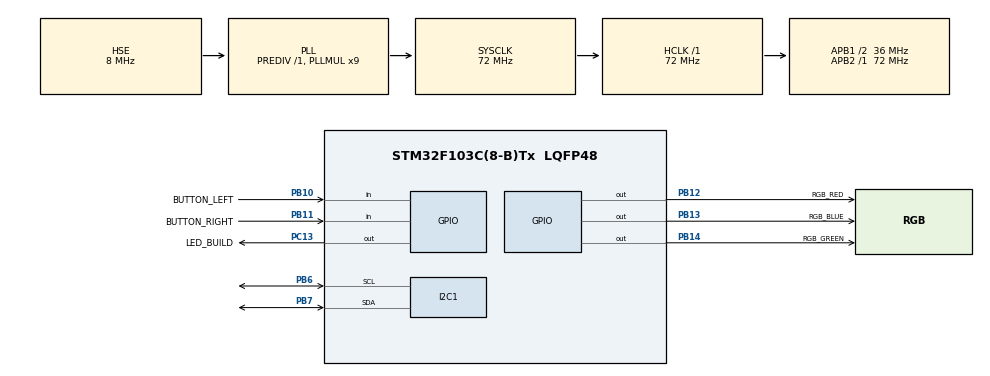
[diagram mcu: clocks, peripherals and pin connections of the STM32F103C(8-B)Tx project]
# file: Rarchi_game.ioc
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I2C1.I2C_Mode=I2C_Fast
Mcu.Family=STM32F1
Mcu.Name=STM32F103C(8-B)Tx
Mcu.Package=LQFP48
NVIC.PriorityGroup=NVIC_PRIORITYGROUP_4
NVIC.RCC_IRQn=true\:0\:0\:false\:false\:true\:true\:false
NVIC.TIM2_IRQn=true\:0\:0\:false\:false\:true\:true\:true
PA13.Mode=Serial_Wire
PA13.Signal=SYS_JTMS-SWDIO
PA14.Mode=Serial_Wire
PA14.Signal=SYS_JTCK-SWCLK
PB10.GPIO_Label=BUTTON_LEFT
PB10.GPIO_PuPd=GPIO_PULLUP
PB10.Signal=GPIO_Input
PB11.GPIO_Label=BUTTON_RIGHT
PB11.GPIO_PuPd=GPIO_PULLUP
PB11.Signal=GPIO_Input
PB12.GPIO_Label=RGB_RED
PB12.Signal=GPIO_Output
PB13.GPIO_Label=RGB_BLUE
PB13.Signal=GPIO_Output
PB14.GPIO_Label=RGB_GREEN
PB14.Signal=GPIO_Output
PB6.Mode=I2C
PB6.Signal=I2C1_SCL
PB7.Mode=I2C
PB7.Signal=I2C1_SDA
PC13-TAMPER-RTC.GPIO_Label=LED_BUILD
PC13-TAMPER-RTC.Signal=GPIO_Output
PD0-OSC_IN.Mode=HSE-External-Oscillator
PD0-OSC_IN.Signal=RCC_OSC_IN
PD1-OSC_OUT.Mode=HSE-External-Oscillator
PD1-OSC_OUT.Signal=RCC_OSC_OUT
ProjectManager.HeapSize=0x200
ProjectManager.StackSize=0x400
ProjectManager.TargetToolchain=STM32CubeIDE
RCC.AHBFreq_Value=72000000
RCC.APB1CLKDivider=RCC_HCLK_DIV2
RCC.APB1Freq_Value=36000000
RCC.APB1TimFreq_Value=72000000
RCC.APB2Freq_Value=72000000
RCC.APB2TimFreq_Value=72000000
RCC.HCLKFreq_Value=72000000
RCC.PLLMUL=RCC_PLL_MUL9
RCC.PLLSourceVirtual=RCC_PLLSOURCE_HSE
RCC.SYSCLKFreq_VALUE=72000000
RCC.SYSCLKSource=RCC_SYSCLKSOURCE_PLLCLK
RCC.USBFreq_Value=48000000
RCC.USBPrescaler=RCC_USBCLKSOURCE_PLL_DIV1_5
TIM2.AutoReloadPreload=TIM_AUTORELOAD_PRELOAD_DISABLE
TIM2.Period=10000-1
TIM2.Prescaler=6000-1
VP_TIM2_VS_ClockSourceINT.Mode=Internal
board=custom

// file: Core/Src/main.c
/* USER CODE BEGIN Header */
/**
 ******************************************************************************
 * @file           : main.c
 * @brief          : Main program body
 ******************************************************************************
 * @attention
 *
 * <h2><center>&copy; Copyright (c) 2020 STMicroelectronics.
 * All rights reserved.</center></h2>
 *
 * This software component is licensed by ST under BSD 3-Clause license,
 * the "License"; You may not use this file except in compliance with the
 * License. You may obtain a copy of the License at:
 *                        opensource.org/licenses/BSD-3-Clause
 *
 ******************************************************************************
 */
/* USER CODE END Header */

#include "main.h"

/* USER CODE BEGIN Includes */

#include "ssd1306.h"
#include "fonts.h"
#include "test.h"
#include "cartoons.h"
#include "game_data.h"
#include "gameplay_logic.h"
#include "internal_flash.h"
/* USER CODE END Includes */

I2C_HandleTypeDef hi2c1;

TIM_HandleTypeDef htim2;

void SystemClock_Config(void);
static void MX_GPIO_Init(void);
static void MX_I2C1_Init(void);
static void MX_TIM2_Init(void);

int main(void) {
	/* USER CODE BEGIN 1 */
	Player children;
	children.points = 0;
	children.state_machine = INIT;
	children.scrol_position = 18;
	children.game_questions = 0;
	children.selected_game_item = 0;

	/* USER CODE END 1 */

	/* MCU Configuration--------------------------------------------------------*/

	/* Reset of all peripherals, Initializes the Flash interface and the Systick. */
	HAL_Init();

	/* Configure the system clock */
	SystemClock_Config();

	/* Initialize all configured peripherals */
	MX_GPIO_Init();
	MX_I2C1_Init();
	MX_TIM2_Init();
	/* USER CODE BEGIN 2 */

	//I get the children points and save them on children struct:
	//uint16_t write_pts = 12;
	//uint16_t *pointer_pts_write = &write_pts;
	//save_to_flash((uint8_t*)pointer_pts_write);
	uint16_t read_pts = 0;
	uint16_t *pointer_pts_read = &read_pts;
	read_flash((uint8_t*) pointer_pts_read);
	children.points = read_pts;

	SSD1306_Init(); // initialise
	HAL_TIM_Base_Init(&htim2);
	HAL_TIM_Base_Start_IT(&htim2);

	SSD1306_GotoXY(0, 0);
	SSD1306_Puts("PTS:", &Font_11x18, 1);
	SSD1306_GotoXY(42, 0);
	char *numberstring[(((sizeof children.points)) + 2) / 3 + 2];
	sprintf((char*) numberstring, "%d", children.points);
	SSD1306_Puts((char*) numberstring, &Font_11x18, 1);
	HAL_GPIO_WritePin(RGB_GREEN_GPIO_Port, RGB_GREEN_Pin, 0);

	//SSD1306_DrawBitmap(30, 0, image_data_test_real, 128, 64, 1);
	//int position_icon = 0;
	//SSD1306_DrawBitmap(position_icon, 20, icon_house, 25, 25, 1);
	//SSD1306_DrawBitmap(position_icon += 25, 20, icon_cross, 25, 25, 1);

	SSD1306_DrawBitmap(0, 11, duck_1, 128, 54, 1);
	SSD1306_UpdateScreen();
	/*
	 HAL_Delay(300);
	 SSD1306_Clear();
	 SSD1306_DrawBitmap(0, 11, duck_2, 128, 54, 1);
	 SSD1306_UpdateScreen();
	 HAL_Delay(300);
	 SSD1306_Clear();
	 SSD1306_DrawBitmap(0, 11, duck_3, 128, 54, 1);
	 SSD1306_UpdateScreen();
	 HAL_Delay(300);
	 */
	/* USER CODE END 2 */

	/* Infinite loop */
	/* USER CODE BEGIN WHILE */

	while (1) {

		switch (children.state_machine) {
		case INIT:
			if (HAL_GPIO_ReadPin(BUTTON_RIGHT_GPIO_Port, BUTTON_RIGHT_Pin) == 0
					|| HAL_GPIO_ReadPin(BUTTON_LEFT_GPIO_Port, BUTTON_LEFT_Pin)
							== 0) {
				HAL_GPIO_WritePin(RGB_RED_GPIO_Port, RGB_RED_Pin, 1);
				HAL_GPIO_WritePin(RGB_GREEN_GPIO_Port, RGB_GREEN_Pin, 0);
				//I update the screen
				SSD1306_Clear();
				SSD1306_GotoXY(20, 18);
				SSD1306_Puts("1:Questions", &Font_7x10, 1);
				SSD1306_GotoXY(20, 28);
				SSD1306_Puts("2:Relations", &Font_7x10, 1);
				SSD1306_GotoXY(20, 38);
				SSD1306_Puts("3:Maths", &Font_7x10, 1);
				SSD1306_GotoXY(20, 48);
				SSD1306_Puts("4:Orthography", &Font_7x10, 1);
				SSD1306_GotoXY(50, 0);
				SSD1306_Puts("Select game", &Font_7x10, 1);
				children.scrol_position = 28;
				SSD1306_GotoXY(10, 18);
				SSD1306_Puts(">", &Font_7x10, 1);
				SSD1306_UpdateScreen(); //display
				HAL_Delay(60);
				children.state_machine = MENU;
			}
			break;
		case MENU:
			if (HAL_GPIO_ReadPin(BUTTON_LEFT_GPIO_Port, BUTTON_LEFT_Pin) == 0) {
				SSD1306_GotoXY(10, 18);
				SSD1306_Puts(" ", &Font_7x10, 1);
				SSD1306_GotoXY(10, 28);
				SSD1306_Puts(" ", &Font_7x10, 1);
				SSD1306_GotoXY(10, 38);
				SSD1306_Puts(" ", &Font_7x10, 1);
				SSD1306_GotoXY(10, 48);
				SSD1306_Puts(" ", &Font_7x10, 1);
				SSD1306_GotoXY(10, children.scrol_position);
				SSD1306_Puts(">", &Font_7x10, 1);
				SSD1306_UpdateScreen(); //display
				if (children.scrol_position >= 48) {
					children.scrol_position = 18;
				} else if (children.scrol_position != 48) {
					children.scrol_position += 10;
				}
				HAL_Delay(60);
			}
			if (HAL_GPIO_ReadPin(BUTTON_RIGHT_GPIO_Port, BUTTON_RIGHT_Pin)
					== 0) {
				SSD1306_Clear();
				HAL_GPIO_WritePin(RGB_RED_GPIO_Port, RGB_RED_Pin, 0);
				HAL_GPIO_WritePin(RGB_GREEN_GPIO_Port, RGB_GREEN_Pin, 0);
				HAL_GPIO_WritePin(RGB_BLUE_GPIO_Port, RGB_BLUE_Pin, 1);
				SSD1306_GotoXY(0, 0);

				if (children.scrol_position == 28) {
					children.state_machine = GAME_1;
					children.game_questions = 0;
					SSD1306_GotoXY(0, 0);
					SSD1306_Puts(game1[children.game_questions].question,
							&Font_7x10, 1);
					SSD1306_GotoXY(0, 30);
					SSD1306_Puts(game1[children.game_questions].yes, &Font_7x10,
							1);
					SSD1306_GotoXY(80, 30);
					SSD1306_Puts(game1[children.game_questions].no, &Font_7x10,
							1);
					SSD1306_GotoXY(20, 50);
					SSD1306_Puts("<=>", &Font_7x10, 1);
					//SSD1306_GotoXY(100, 50);
					//SSD1306_Puts("<=>", &Font_7x10, 1);

				} else if (children.scrol_position == 38) {

					children.state_machine = GAME_2;
					children.game_questions = 0;
					SSD1306_Clear();
					SSD1306_GotoXY(0, 0);
					SSD1306_Puts(game2[children.game_questions].question,
							&Font_11x18, 1);
					int position_icon = 20;
					SSD1306_DrawBitmap(position_icon, 20,
							game2[children.game_questions].icon_1, 25, 25, 1);
					position_icon += 60;
					SSD1306_DrawBitmap(position_icon, 20,
							game2[children.game_questions].icon_2, 25, 25, 1);
					SSD1306_GotoXY(22, 50);
					SSD1306_Puts("<=>", &Font_7x10, 1);

				} else if (children.scrol_position == 48) {
					SSD1306_Puts("GAME 3", &Font_11x18, 1);
					children.state_machine = GAME_3;
					children.game_questions = 0;
					SSD1306_GotoXY(0, 0);
					SSD1306_Puts(game3[children.game_questions].question,
							&Font_11x18, 1);
					SSD1306_GotoXY(20 - 5, 30);
					SSD1306_Puts(game3[children.game_questions].yes,
							&Font_11x18, 1);
					SSD1306_GotoXY(100 - 5, 30);
					SSD1306_Puts(game3[children.game_questions].no, &Font_11x18,
							1);
					children.selected_game_item = 0;
					SSD1306_GotoXY(20, 50);
					SSD1306_Puts("<=>", &Font_7x10, 1);
				} else if (children.scrol_position == 18) {

					children.game_questions = 0;
					children.state_machine = GAME_4;
					SSD1306_GotoXY(40, 0);
					SSD1306_Puts(game4[children.game_questions].question,
							&Font_11x18, 1);
					SSD1306_GotoXY(20, 30);
					SSD1306_Puts(game4[children.game_questions].yes,
							&Font_11x18, 1);
					SSD1306_GotoXY(100, 30);
					SSD1306_Puts(game4[children.game_questions].no, &Font_11x18,
							1);
					SSD1306_GotoXY(20, 52);
					SSD1306_Puts("<=>", &Font_7x10, 1);
				}
				SSD1306_UpdateScreen();
				HAL_Delay(60);
			}
			break;
		case (GAME_1):
			//If I confirm the answer:
			if (HAL_GPIO_ReadPin(BUTTON_RIGHT_GPIO_Port, BUTTON_RIGHT_Pin)
					== 0) {
				gameplay_1_confirm(&children);
			}
			//If I change the response:
			if (HAL_GPIO_ReadPin(BUTTON_LEFT_GPIO_Port, BUTTON_LEFT_Pin) == 0) {
				if (children.selected_game_item == 0) {
					SSD1306_GotoXY(20, 50);
					SSD1306_Puts("   ", &Font_7x10, 1);

					SSD1306_GotoXY(100, 50);
					SSD1306_Puts("<=>", &Font_7x10, 1);
					children.selected_game_item++;
				} else {
					SSD1306_GotoXY(20, 50);
					SSD1306_Puts("<=>", &Font_7x10, 1);

					SSD1306_GotoXY(100, 50);
					SSD1306_Puts("   ", &Font_7x10, 1);
					children.selected_game_item = 0;
				}
				SSD1306_UpdateScreen();
				HAL_Delay(80);
			}

			break;
		case (GAME_2):
			//If I confirm the answer:
			if (HAL_GPIO_ReadPin(BUTTON_RIGHT_GPIO_Port, BUTTON_RIGHT_Pin)
					== 0) {
				gameplay_2_confirm(&children);
			}
			//If I change the response:
			if (HAL_GPIO_ReadPin(BUTTON_LEFT_GPIO_Port, BUTTON_LEFT_Pin) == 0) {
				if (children.selected_game_item == 0) {
					SSD1306_GotoXY(22, 50);
					SSD1306_Puts("   ", &Font_7x10, 1);

					SSD1306_GotoXY(80, 50);
					SSD1306_Puts("<=>", &Font_7x10, 1);
					children.selected_game_item++;
				} else {
					SSD1306_GotoXY(22, 50);
					SSD1306_Puts("<=>", &Font_7x10, 1);

					SSD1306_GotoXY(80, 50);
					SSD1306_Puts("   ", &Font_7x10, 1);
					children.selected_game_item = 0;
				}
				SSD1306_UpdateScreen();
				HAL_Delay(80);
			}
			break;
		case (GAME_3):
			if (HAL_GPIO_ReadPin(BUTTON_RIGHT_GPIO_Port, BUTTON_RIGHT_Pin)
					== 0) {
				gameplay_3_confirm(&children);
			}
			//If I change the response:
			if (HAL_GPIO_ReadPin(BUTTON_LEFT_GPIO_Port, BUTTON_LEFT_Pin) == 0) {
				if (children.selected_game_item == 0) {
					SSD1306_GotoXY(20, 50);
					SSD1306_Puts("   ", &Font_7x10, 1);

					SSD1306_GotoXY(85, 50);
					SSD1306_Puts("<=>", &Font_7x10, 1);
					children.selected_game_item++;
				} else {
					SSD1306_GotoXY(20, 50);
					SSD1306_Puts("<=>", &Font_7x10, 1);

					SSD1306_GotoXY(85, 50);
					SSD1306_Puts("   ", &Font_7x10, 1);
					children.selected_game_item = 0;
				}
				SSD1306_UpdateScreen();
				HAL_Delay(80);
			}
			break;
		case (GAME_4):
			//Confirm button
			if (HAL_GPIO_ReadPin(BUTTON_RIGHT_GPIO_Port, BUTTON_RIGHT_Pin)
					== 0) {
				if (children.game_questions < 5) {
					children.game_questions++;
					SSD1306_Clear();
					SSD1306_GotoXY(40, 0);
					SSD1306_Puts(game4[children.game_questions].question,
							&Font_11x18, 1);
					SSD1306_GotoXY(20, 30);
					SSD1306_Puts(game4[children.game_questions].yes,
							&Font_11x18, 1);
					SSD1306_GotoXY(100, 30);
					SSD1306_Puts(game4[children.game_questions].no, &Font_11x18,
							1);
					SSD1306_GotoXY(20, 52);
					SSD1306_Puts("<=>", &Font_7x10, 1);

				} else {

					children.state_machine = INIT;
					children.game_questions = 0;
					//character_draw(1);
					SSD1306_Clear();
					SSD1306_GotoXY(0, 0);
					SSD1306_Puts("PTS:", &Font_11x18, 1);
					SSD1306_GotoXY(42, 0);
					char *numberstring[(((sizeof children.points)) + 2) / 3 + 2];
					sprintf((char*) numberstring, "%d", children.points);
					SSD1306_Puts(&numberstring, &Font_11x18, 1);
					HAL_GPIO_WritePin(RGB_BLUE_GPIO_Port, RGB_BLUE_Pin, 0);
					HAL_GPIO_WritePin(RGB_GREEN_GPIO_Port, RGB_GREEN_Pin, 1);
				}
				SSD1306_UpdateScreen(); //display
			}
			//If I change the response:
			if (HAL_GPIO_ReadPin(BUTTON_LEFT_GPIO_Port, BUTTON_LEFT_Pin) == 0) {
				if (children.selected_game_item == 0) {
					SSD1306_GotoXY(20, 50);
					SSD1306_Puts("   ", &Font_7x10, 1);

					SSD1306_GotoXY(100, 50);
					SSD1306_Puts("<=>", &Font_7x10, 1);
					children.selected_game_item++;
				} else {
					SSD1306_GotoXY(20, 50);
					SSD1306_Puts("<=>", &Font_7x10, 1);

					SSD1306_GotoXY(100, 50);
					SSD1306_Puts("   ", &Font_7x10, 1);
					children.selected_game_item = 0;
				}
				SSD1306_UpdateScreen();
				HAL_Delay(80);
			}
			break;

		}

		/* USER CODE END WHILE */

	}
}

void SystemClock_Config(void) {
	RCC_OscInitTypeDef RCC_OscInitStruct = { 0 };
	RCC_ClkInitTypeDef RCC_ClkInitStruct = { 0 };

	/** Initializes the CPU, AHB and APB busses clocks
	 */
	RCC_OscInitStruct.OscillatorType = RCC_OSCILLATORTYPE_HSE;
	RCC_OscInitStruct.HSEState = RCC_HSE_ON;
	RCC_OscInitStruct.HSEPredivValue = RCC_HSE_PREDIV_DIV1;
	RCC_OscInitStruct.HSIState = RCC_HSI_ON;
	RCC_OscInitStruct.PLL.PLLState = RCC_PLL_ON;
	RCC_OscInitStruct.PLL.PLLSource = RCC_PLLSOURCE_HSE;
	RCC_OscInitStruct.PLL.PLLMUL = RCC_PLL_MUL9;
	if (HAL_RCC_OscConfig(&RCC_OscInitStruct) != HAL_OK) {
		Error_Handler();
	}
	/** Initializes the CPU, AHB and APB busses clocks
	 */
	RCC_ClkInitStruct.ClockType = RCC_CLOCKTYPE_HCLK | RCC_CLOCKTYPE_SYSCLK
			| RCC_CLOCKTYPE_PCLK1 | RCC_CLOCKTYPE_PCLK2;
	RCC_ClkInitStruct.SYSCLKSource = RCC_SYSCLKSOURCE_PLLCLK;
	RCC_ClkInitStruct.AHBCLKDivider = RCC_SYSCLK_DIV1;
	RCC_ClkInitStruct.APB1CLKDivider = RCC_HCLK_DIV2;
	RCC_ClkInitStruct.APB2CLKDivider = RCC_HCLK_DIV1;

	if (HAL_RCC_ClockConfig(&RCC_ClkInitStruct, FLASH_LATENCY_2) != HAL_OK) {
		Error_Handler();
	}
}

static void MX_I2C1_Init(void) {

	hi2c1.Instance = I2C1;
	hi2c1.Init.ClockSpeed = 400000;
	hi2c1.Init.DutyCycle = I2C_DUTYCYCLE_2;
	hi2c1.Init.OwnAddress1 = 0;
	hi2c1.Init.AddressingMode = I2C_ADDRESSINGMODE_7BIT;
	hi2c1.Init.DualAddressMode = I2C_DUALADDRESS_DISABLE;
	hi2c1.Init.OwnAddress2 = 0;
	hi2c1.Init.GeneralCallMode = I2C_GENERALCALL_DISABLE;
	hi2c1.Init.NoStretchMode = I2C_NOSTRETCH_DISABLE;
	if (HAL_I2C_Init(&hi2c1) != HAL_OK) {
		Error_Handler();
	}

}

static void MX_TIM2_Init(void) {

	TIM_ClockConfigTypeDef sClockSourceConfig = { 0 };
	TIM_MasterConfigTypeDef sMasterConfig = { 0 };

	htim2.Instance = TIM2;
	htim2.Init.Prescaler = 6000 - 1;
	htim2.Init.CounterMode = TIM_COUNTERMODE_UP;
	htim2.Init.Period = 10000 - 1;
	htim2.Init.ClockDivision = TIM_CLOCKDIVISION_DIV1;
	htim2.Init.AutoReloadPreload = TIM_AUTORELOAD_PRELOAD_DISABLE;
	if (HAL_TIM_Base_Init(&htim2) != HAL_OK) {
		Error_Handler();
	}
	sClockSourceConfig.ClockSource = TIM_CLOCKSOURCE_INTERNAL;
	if (HAL_TIM_ConfigClockSource(&htim2, &sClockSourceConfig) != HAL_OK) {
		Error_Handler();
	}
	sMasterConfig.MasterOutputTrigger = TIM_TRGO_RESET;
	sMasterConfig.MasterSlaveMode = TIM_MASTERSLAVEMODE_DISABLE;
	if (HAL_TIMEx_MasterConfigSynchronization(&htim2, &sMasterConfig)
			!= HAL_OK) {
		Error_Handler();
	}

}

static void MX_GPIO_Init(void) {
	GPIO_InitTypeDef GPIO_InitStruct = { 0 };

	/* GPIO Ports Clock Enable */
	__HAL_RCC_GPIOC_CLK_ENABLE();
	__HAL_RCC_GPIOD_CLK_ENABLE();
	__HAL_RCC_GPIOB_CLK_ENABLE();
	__HAL_RCC_GPIOA_CLK_ENABLE();

	/*Configure GPIO pin Output Level */
	HAL_GPIO_WritePin(LED_BUILD_GPIO_Port, LED_BUILD_Pin, GPIO_PIN_RESET);

	/*Configure GPIO pin Output Level */
	HAL_GPIO_WritePin(GPIOB, RGB_RED_Pin | RGB_BLUE_Pin | RGB_GREEN_Pin,
			GPIO_PIN_RESET);

	/*Configure GPIO pin : LED_BUILD_Pin */
	GPIO_InitStruct.Pin = LED_BUILD_Pin;
	GPIO_InitStruct.Mode = GPIO_MODE_OUTPUT_PP;
	GPIO_InitStruct.Pull = GPIO_NOPULL;
	GPIO_InitStruct.Speed = GPIO_SPEED_FREQ_LOW;
	HAL_GPIO_Init(LED_BUILD_GPIO_Port, &GPIO_InitStruct);

	/*Configure GPIO pins : BUTTON_LEFT_Pin BUTTON_RIGHT_Pin */
	GPIO_InitStruct.Pin = BUTTON_LEFT_Pin | BUTTON_RIGHT_Pin;
	GPIO_InitStruct.Mode = GPIO_MODE_INPUT;
	GPIO_InitStruct.Pull = GPIO_PULLUP;
	HAL_GPIO_Init(GPIOB, &GPIO_InitStruct);

	/*Configure GPIO pins : RGB_RED_Pin RGB_BLUE_Pin RGB_GREEN_Pin */
	GPIO_InitStruct.Pin = RGB_RED_Pin | RGB_BLUE_Pin | RGB_GREEN_Pin;
	GPIO_InitStruct.Mode = GPIO_MODE_OUTPUT_PP;
	GPIO_InitStruct.Pull = GPIO_NOPULL;
	GPIO_InitStruct.Speed = GPIO_SPEED_FREQ_LOW;
	HAL_GPIO_Init(GPIOB, &GPIO_InitStruct);

}

/* USER CODE BEGIN 4 */
void HAL_TIM_PeriodElapsedCallback(TIM_HandleTypeDef *htim) {

	HAL_GPIO_TogglePin(RGB_RED_GPIO_Port, RGB_RED_Pin);

}
/* USER CODE END 4 */

void Error_Handler(void) {
}

/************************ (C) COPYRIGHT STMicroelectronics *****END OF FILE****/
